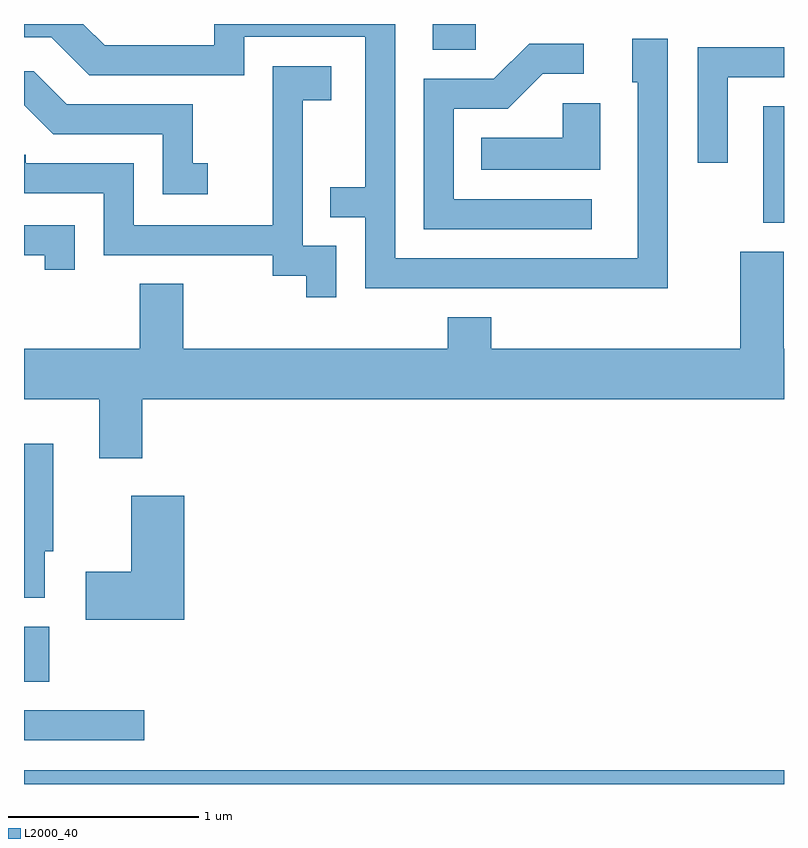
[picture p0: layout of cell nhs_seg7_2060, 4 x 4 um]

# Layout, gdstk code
import gdstk
lib = gdstk.Library(unit=1e-6, precision=1e-09)
def R(c, l, rs):  # rectangles x0, y0, x1, y1
    for r in rs: c.add(gdstk.rectangle(r[:2], r[2:], *l))
def P(c, l, *ps):  # polygons
    for p in ps: c.add(gdstk.Polygon(p, *l))
L2000_40 = (2000, 40)

nhs_seg7_2060 = lib.new_cell('nhs_seg7_2060')
R(nhs_seg7_2060, L2000_40, [(247.611,1752.252,251.611,1752.324), (247.611,1752.481,248.243,1752.639), (247.611,1752.791,247.744,1753.079), (251.501,1755.206,251.611,1755.819), (249.761,1756.116,249.989,1756.252)])
P(nhs_seg7_2060, L2000_40, [(250.999,1756.174),(250.811,1756.174),(250.811,1755.946),(250.841,1755.946),(250.841,1755.019),(249.564,1755.019),(249.564,1756.252),(248.611,1756.252),(248.611,1756.139),(248.037,1756.139),(247.924,1756.252),(247.611,1756.252),(247.611,1756.181),(247.754,1756.181),(247.954,1755.981),(248.769,1755.981),(248.769,1756.186),(249.406,1756.186),(249.406,1755.394),(249.223,1755.394),(249.223,1755.236),(249.406,1755.236),(249.406,1754.861),(250.999,1754.861)],
  [(250.598,1755.329),(249.874,1755.329),(249.874,1755.806),(250.157,1755.806),(250.342,1755.991),(250.558,1755.991),(250.558,1756.149),(250.269,1756.149),(250.084,1755.964),(249.716,1755.964),(249.716,1755.171),(250.598,1755.171)],
  [(251.314,1755.971),(251.611,1755.971),(251.611,1756.129),(251.156,1756.129),(251.156,1755.523),(251.314,1755.523)],
  [(249.254,1755.084),(249.079,1755.084),(249.079,1755.851),(249.229,1755.851),(249.229,1756.029),(248.921,1756.029),(248.921,1755.194),(248.189,1755.194),(248.189,1755.519),(247.619,1755.519),(247.619,1755.564),(247.611,1755.564),(247.611,1755.361),(248.031,1755.361),(248.031,1755.036),(248.921,1755.036),(248.921,1754.926),(249.096,1754.926),(249.096,1754.813),(249.254,1754.813)],
  [(248.578,1755.519),(248.499,1755.519),(248.499,1755.829),(247.837,1755.829),(247.662,1756.004),(247.611,1756.004),(247.611,1755.824),(247.764,1755.671),(248.341,1755.671),(248.341,1755.356),(248.578,1755.356)],
  [(250.644,1755.834),(250.446,1755.834),(250.446,1755.654),(250.018,1755.654),(250.018,1755.486),(250.644,1755.486)],
  [(247.879,1755.194),(247.611,1755.194),(247.611,1755.036),(247.721,1755.036),(247.721,1754.958),(247.879,1754.958)],
  [(251.611,1754.544),(251.609,1754.544),(251.609,1755.054),(251.381,1755.054),(251.381,1754.544),(250.069,1754.544),(250.069,1754.709),(249.841,1754.709),(249.841,1754.544),(248.449,1754.544),(248.449,1754.884),(248.221,1754.884),(248.221,1754.544),(247.611,1754.544),(247.611,1754.276),(248.006,1754.276),(248.006,1753.966),(248.234,1753.966),(248.234,1754.276),(251.611,1754.276)],
  [(247.719,1753.476),(247.764,1753.476),(247.764,1754.044),(247.611,1754.044),(247.611,1753.231),(247.719,1753.231)],
  [(248.454,1753.769),(248.176,1753.769),(248.176,1753.369),(247.936,1753.369),(247.936,1753.116),(248.454,1753.116)])

lib.write_gds('nhs_seg7_2060.gds')
